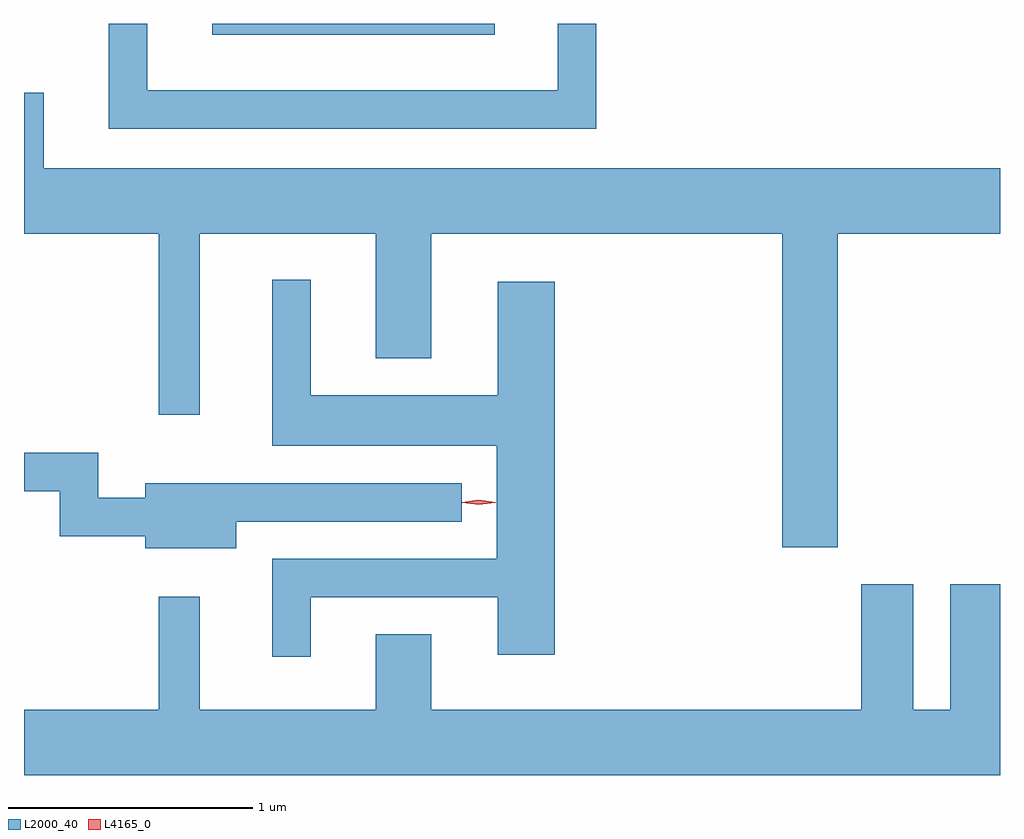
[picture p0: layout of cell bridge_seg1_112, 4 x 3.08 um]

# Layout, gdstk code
import gdstk
lib = gdstk.Library(unit=1e-6, precision=1e-09)
def R(c, l, rs):  # rectangles x0, y0, x1, y1
    for r in rs: c.add(gdstk.rectangle(r[:2], r[2:], *l))
def P(c, l, *ps):  # polygons
    for p in ps: c.add(gdstk.Polygon(p, *l))
L2000_40 = (2000, 40)
L4165_0 = (4165, 0)

bridge_seg1_112 = lib.new_cell('bridge_seg1_112')
R(bridge_seg1_112, L2000_40, [(1477.641,889.291,1478.798,889.337)])
P(bridge_seg1_112, L2000_40, [(1479.214,889.337),(1479.056,889.337),(1479.056,889.064),(1477.374,889.064),(1477.374,889.337),(1477.216,889.337),(1477.216,888.906),(1479.214,888.906)],
  [(1480.204,888.476),(1480.869,888.476),(1480.869,888.744),(1476.949,888.744),(1476.949,889.054),(1476.869,889.054),(1476.869,888.476),(1477.421,888.476),(1477.421,887.733),(1477.589,887.733),(1477.589,888.476),(1478.311,888.476),(1478.311,887.966),(1478.539,887.966),(1478.539,888.476),(1479.976,888.476),(1479.976,887.191),(1480.204,887.191)],
  [(1478.044,886.986),(1478.811,886.986),(1478.811,886.751),(1479.044,886.751),(1479.044,888.279),(1478.811,888.279),(1478.811,887.814),(1478.044,887.814),(1478.044,888.288),(1477.886,888.288),(1477.886,887.606),(1478.806,887.606),(1478.806,887.144),(1477.886,887.144),(1477.886,886.743),(1478.044,886.743)],
  [(1477.739,887.296),(1478.663,887.296),(1478.663,887.454),(1477.366,887.454),(1477.366,887.394),(1477.174,887.394),(1477.174,887.579),(1476.869,887.579),(1476.869,887.421),(1477.016,887.421),(1477.016,887.236),(1477.366,887.236),(1477.366,887.186),(1477.739,887.186)],
  [(1480.869,887.039),(1480.666,887.039),(1480.666,886.524),(1480.514,886.524),(1480.514,887.039),(1480.301,887.039),(1480.301,886.524),(1478.539,886.524),(1478.539,886.834),(1478.311,886.834),(1478.311,886.524),(1477.589,886.524),(1477.589,886.988),(1477.421,886.988),(1477.421,886.524),(1476.869,886.524),(1476.869,886.256),(1480.869,886.256)])
P(bridge_seg1_112, L4165_0, [(1478.733,887.365),(1478.664,887.374),(1478.664,887.375),(1478.664,887.375),(1478.733,887.385),(1478.802,887.375),(1478.802,887.375),(1478.802,887.374)],
  [(1478.733,887.365),(1478.667,887.374),(1478.667,887.375),(1478.667,887.375),(1478.733,887.385),(1478.799,887.375),(1478.8,887.375),(1478.799,887.374)])

lib.write_gds('bridge_seg1_112.gds')
